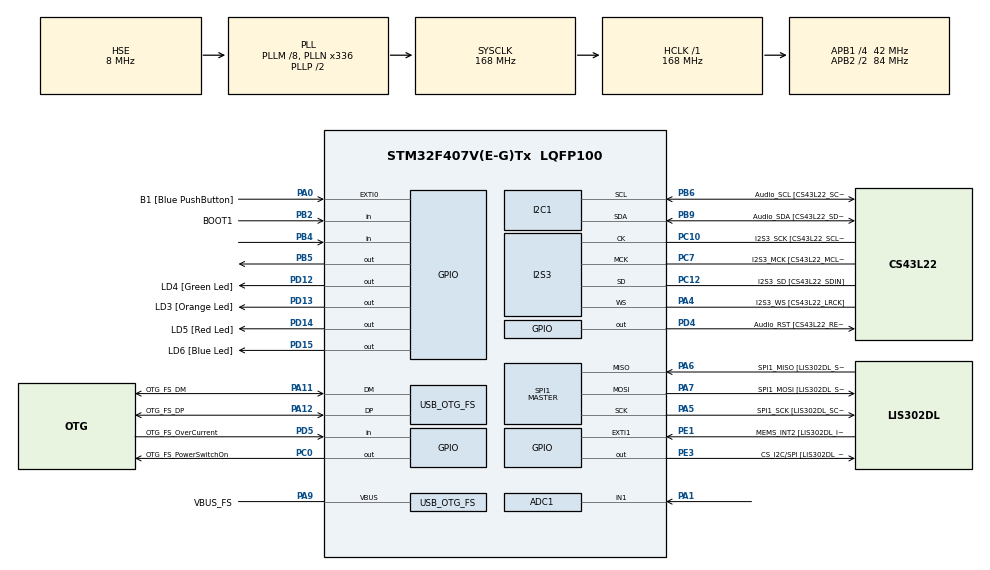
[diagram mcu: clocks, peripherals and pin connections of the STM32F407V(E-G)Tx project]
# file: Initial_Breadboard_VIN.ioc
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ADC1.Channel-0\#ChannelRegularConversion=ADC_CHANNEL_1
ADC1.NbrOfConversionFlag=1
ADC1.Rank-0\#ChannelRegularConversion=1
ADC1.SamplingTime-0\#ChannelRegularConversion=ADC_SAMPLETIME_3CYCLES
ADC1.master=1
I2S3.AudioFreq-Half_Duplex_Master=I2S_AUDIOFREQ_96K
I2S3.ErrorAudioFreq=-2.34 %
I2S3.ErrorAudioFreq-Half_Duplex_Master=0.8 %
I2S3.FullDuplexMode=I2S_FULLDUPLEXMODE_DISABLE
I2S3.Instance=SPI$Index
I2S3.RealAudioFreq=93.75 KHz
I2S3.RealAudioFreq-Half_Duplex_Master=96.774 KHz
I2S3.VirtualMode=I2S_MODE_MASTER
Mcu.Family=STM32F4
Mcu.Name=STM32F407V(E-G)Tx
Mcu.Package=LQFP100
NVIC.OTG_FS_IRQn=true\:0\:0\:false\:false\:true\:true\:true
NVIC.PriorityGroup=NVIC_PRIORITYGROUP_0
PA0-WKUP.GPIO_Label=B1 [Blue PushButton]
PA0-WKUP.GPIO_ModeDefaultEXTI=GPIO_MODE_EVT_RISING
PA0-WKUP.GPIO_PuPd=GPIO_NOPULL
PA0-WKUP.Signal=GPXTI0
PA1.Signal=ADCx_IN1
PA10.GPIO_Label=OTG_FS_ID
PA10.GPIO_Mode=GPIO_MODE_AF_PP
PA10.GPIO_PuPd=GPIO_NOPULL
PA10.GPIO_Speed=GPIO_SPEED_FREQ_LOW
PA10.Signal=USB_OTG_FS_ID
PA11.GPIO_Label=OTG_FS_DM
PA11.GPIO_Mode=GPIO_MODE_AF_PP
PA11.GPIO_PuPd=GPIO_NOPULL
PA11.GPIO_Speed=GPIO_SPEED_FREQ_LOW
PA11.Mode=Device_Only
PA11.Signal=USB_OTG_FS_DM
PA12.GPIO_Label=OTG_FS_DP
PA12.GPIO_Mode=GPIO_MODE_AF_PP
PA12.GPIO_PuPd=GPIO_NOPULL
PA12.GPIO_Speed=GPIO_SPEED_FREQ_LOW
PA12.Mode=Device_Only
PA12.Signal=USB_OTG_FS_DP
PA13.GPIO_Label=SWDIO
PA13.Mode=Serial_Wire
PA13.Signal=SYS_JTMS-SWDIO
PA14.GPIO_Label=SWCLK
PA14.Mode=Serial_Wire
PA14.Signal=SYS_JTCK-SWCLK
PA4.GPIO_Label=I2S3_WS [CS43L22_LRCK]
PA4.GPIO_Mode=GPIO_MODE_AF_PP
PA4.GPIO_PuPd=GPIO_NOPULL
PA4.GPIO_Speed=GPIO_SPEED_FREQ_LOW
PA4.Mode=Half_Duplex_Master
PA4.Signal=I2S3_WS
PA5.GPIO_Label=SPI1_SCK [LIS302DL_SCL/SPC]
PA5.GPIO_Mode=GPIO_MODE_AF_PP
PA5.GPIO_PuPd=GPIO_NOPULL
PA5.GPIO_Speed=GPIO_SPEED_FREQ_LOW
PA5.Mode=Full_Duplex_Master
PA5.Signal=SPI1_SCK
PA6.GPIO_Label=SPI1_MISO [LIS302DL_SDO]
PA6.GPIO_Mode=GPIO_MODE_AF_PP
PA6.GPIO_PuPd=GPIO_NOPULL
PA6.GPIO_Speed=GPIO_SPEED_FREQ_LOW
PA6.Mode=Full_Duplex_Master
PA6.Signal=SPI1_MISO
PA7.GPIO_Label=SPI1_MOSI [LIS302DL_SDA/SDI/SDO]
PA7.GPIO_Mode=GPIO_MODE_AF_PP
PA7.GPIO_PuPd=GPIO_NOPULL
PA7.GPIO_Speed=GPIO_SPEED_FREQ_LOW
PA7.Mode=Full_Duplex_Master
PA7.Signal=SPI1_MOSI
PA9.GPIO_Label=VBUS_FS
PA9.GPIO_Mode=GPIO_MODE_INPUT
PA9.GPIO_PuPd=GPIO_NOPULL
PA9.Mode=Activate_VBUS
PA9.Signal=USB_OTG_FS_VBUS
PB10.GPIO_Label=CLK_IN [MP45DT02_CLK]
PB10.GPIO_Mode=GPIO_MODE_AF_PP
PB10.GPIO_PuPd=GPIO_NOPULL
PB10.GPIO_Speed=GPIO_SPEED_FREQ_LOW
PB10.Signal=I2S2_CK
PB2.GPIO_Label=BOOT1
PB2.GPIO_Mode=GPIO_MODE_INPUT
PB2.GPIO_PuPd=GPIO_NOPULL
PB2.Signal=GPIO_Input
PB3.GPIO_Label=SWO
PB3.Signal=SYS_JTDO-SWO
PB4.Signal=GPIO_Input
PB5.Signal=GPIO_Output
PB6.GPIO_Label=Audio_SCL [CS43L22_SCL]
PB6.GPIO_Mode=GPIO_MODE_AF_OD
PB6.GPIO_Pu=GPIO_PULLUP
PB6.GPIO_PuPd=GPIO_NOPULL
PB6.GPIO_Speed=GPIO_SPEED_FREQ_LOW
PB6.Mode=I2C
PB6.Signal=I2C1_SCL
PB9.GPIO_Label=Audio_SDA [CS43L22_SDA]
PB9.GPIO_Mode=GPIO_MODE_AF_OD
PB9.GPIO_Pu=GPIO_PULLUP
PB9.GPIO_PuPd=GPIO_NOPULL
PB9.GPIO_Speed=GPIO_SPEED_FREQ_LOW
PB9.Mode=I2C
PB9.Signal=I2C1_SDA
PC0.GPIO_Label=OTG_FS_PowerSwitchOn
PC0.GPIO_PuPd=GPIO_NOPULL
PC0.GPIO_Speed=GPIO_SPEED_FREQ_LOW
PC0.PinState=GPIO_PIN_SET
PC0.Signal=GPIO_Output
PC10.GPIO_Label=I2S3_SCK [CS43L22_SCLK]
PC10.GPIO_Mode=GPIO_MODE_AF_PP
PC10.GPIO_PuPd=GPIO_NOPULL
PC10.GPIO_Speed=GPIO_SPEED_FREQ_LOW
PC10.Mode=Half_Duplex_Master
PC10.Signal=I2S3_CK
PC12.GPIO_Label=I2S3_SD [CS43L22_SDIN]
PC12.GPIO_Mode=GPIO_MODE_AF_PP
PC12.GPIO_PuPd=GPIO_NOPULL
PC12.GPIO_Speed=GPIO_SPEED_FREQ_LOW
PC12.Mode=Half_Duplex_Master
PC12.Signal=I2S3_SD
PC14-OSC32_IN.GPIO_Label=PC14-OSC32_IN
PC14-OSC32_IN.Mode=LSE-External-Oscillator
PC14-OSC32_IN.Signal=RCC_OSC32_IN
PC15-OSC32_OUT.GPIO_Label=PC15-OSC32_OUT
PC15-OSC32_OUT.Mode=LSE-External-Oscillator
PC15-OSC32_OUT.Signal=RCC_OSC32_OUT
PC3.GPIO_Label=PDM_OUT [MP45DT02_DOUT]
PC3.GPIO_Mode=GPIO_MODE_AF_PP
PC3.GPIO_PuPd=GPIO_NOPULL
PC3.GPIO_Speed=GPIO_SPEED_FREQ_LOW
PC3.Signal=I2S2_SD
PC7.GPIO_Label=I2S3_MCK [CS43L22_MCLK]
PC7.GPIO_Mode=GPIO_MODE_AF_PP
PC7.GPIO_PuPd=GPIO_NOPULL
PC7.GPIO_Speed=GPIO_SPEED_FREQ_LOW
PC7.Mode=Master_Clock_Activated
PC7.Signal=I2S3_MCK
PD12.GPIO_Label=LD4 [Green Led]
PD12.GPIO_PuPd=GPIO_NOPULL
PD12.GPIO_Speed=GPIO_SPEED_FREQ_LOW
PD12.Signal=GPIO_Output
PD13.GPIO_Label=LD3 [Orange Led]
PD13.GPIO_PuPd=GPIO_NOPULL
PD13.GPIO_Speed=GPIO_SPEED_FREQ_LOW
PD13.Signal=GPIO_Output
PD14.GPIO_Label=LD5 [Red Led]
PD14.GPIO_PuPd=GPIO_NOPULL
PD14.GPIO_Speed=GPIO_SPEED_FREQ_LOW
PD14.Signal=GPIO_Output
PD15.GPIO_Label=LD6 [Blue Led]
PD15.GPIO_PuPd=GPIO_NOPULL
PD15.GPIO_Speed=GPIO_SPEED_FREQ_LOW
PD15.Signal=GPIO_Output
PD4.GPIO_Label=Audio_RST [CS43L22_RESET]
PD4.GPIO_PuPd=GPIO_NOPULL
PD4.GPIO_Speed=GPIO_SPEED_FREQ_LOW
PD4.Signal=GPIO_Output
PD5.GPIO_Label=OTG_FS_OverCurrent
PD5.GPIO_Mode=GPIO_MODE_INPUT
PD5.GPIO_PuPd=GPIO_NOPULL
PD5.Signal=GPIO_Input
PE1.GPIO_Label=MEMS_INT2 [LIS302DL_INT2]
PE1.GPIO_ModeDefaultEXTI=GPIO_MODE_EVT_RISING
PE1.GPIO_PuPd=GPIO_NOPULL
PE1.Signal=GPXTI1
PE3.GPIO_Label=CS_I2C/SPI [LIS302DL_CS_I2C/SPI]
PE3.GPIO_PuPd=GPIO_NOPULL
PE3.GPIO_Speed=GPIO_SPEED_FREQ_LOW
PE3.Signal=GPIO_Output
PH0-OSC_IN.GPIO_Label=PH0-OSC_IN
PH0-OSC_IN.Mode=HSE-External-Oscillator
PH0-OSC_IN.Signal=RCC_OSC_IN
PH1-OSC_OUT.GPIO_Label=PH1-OSC_OUT
PH1-OSC_OUT.Mode=HSE-External-Oscillator
PH1-OSC_OUT.Signal=RCC_OSC_OUT
ProjectManager.HeapSize=0x200
ProjectManager.StackSize=0x400
ProjectManager.TargetToolchain=STM32CubeIDE
RCC.48MHZClocksFreq_Value=48000000
RCC.AHBFreq_Value=168000000
RCC.APB1CLKDivider=RCC_HCLK_DIV4
RCC.APB1Freq_Value=42000000
RCC.APB1TimFreq_Value=84000000
RCC.APB2CLKDivider=RCC_HCLK_DIV2
RCC.APB2Freq_Value=84000000
RCC.APB2TimFreq_Value=168000000
RCC.CortexFreq_Value=168000000
RCC.HCLKFreq_Value=168000000
RCC.HSE_VALUE=8000000
RCC.HSI_VALUE=16000000
RCC.PLLM=8
RCC.PLLN=336
RCC.PLLQ=7
RCC.SYSCLKFreq_VALUE=168000000
RCC.SYSCLKSource=RCC_SYSCLKSOURCE_PLLCLK
RCC.VCOOutputFreq_Value=336000000
SH.ADCx_IN1.0=ADC1_IN1,IN1
SH.ADCx_IN1.1=ADC2_IN1
SPI1.BaudRatePrescaler-Full_Duplex_Master=SPI_BAUDRATEPRESCALER_2
SPI1.CalculateBaudRate-Full_Duplex_Master=42.0 MBits/s
SPI1.Direction=SPI_DIRECTION_2LINES
SPI1.Mode=SPI_MODE_MASTER
SPI1.Mode-Full_Duplex_Master=SPI_MODE_MASTER
SPI1.VirtualType=VM_MASTER
USB_DEVICE.CLASS_NAME_FS=CDC
USB_DEVICE.VirtualMode-CDC_FS=Cdc
USB_DEVICE.VirtualModeFS=Cdc_FS
USB_OTG_FS.VirtualMode=Device_Only
VP_USB_DEVICE_VS_USB_DEVICE_CDC_FS.Mode=CDC_FS
board=STM32F407G-DISC1

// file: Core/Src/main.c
/* USER CODE BEGIN Header */
/**
  ******************************************************************************
  * @file           : main.c
  * @brief          : Main program body
  ******************************************************************************
  * @attention
  *
  * <h2><center>&copy; Copyright (c) 2021 STMicroelectronics.
  * All rights reserved.</center></h2>
  *
  * This software component is licensed by ST under Ultimate Liberty license
  * SLA0044, the "License"; You may not use this file except in compliance with
  * the License. You may obtain a copy of the License at:
  *                             www.st.com/SLA0044
  *
  ******************************************************************************
  */
/* USER CODE END Header */
#include "main.h"
#include "usb_device.h"

ADC_HandleTypeDef hadc1;

I2C_HandleTypeDef hi2c1;

I2S_HandleTypeDef hi2s3;

SPI_HandleTypeDef hspi1;

/* USER CODE BEGIN PV */

#define BUFSIZE 256
char SendBuffer[BUFSIZE];
int Counter;
int KeyState=0;
int AnalogValue=0;

/* USER CODE END PV */

void SystemClock_Config(void);
static void MX_GPIO_Init(void);
static void MX_I2C1_Init(void);
static void MX_I2S3_Init(void);
static void MX_SPI1_Init(void);
static void MX_ADC1_Init(void);

int main(void)
{

  /* MCU Configuration--------------------------------------------------------*/

  /* Reset of all peripherals, Initializes the Flash interface and the Systick. */
  HAL_Init();

  /* Configure the system clock */
  SystemClock_Config();

  /* Initialize all configured peripherals */
  MX_GPIO_Init();
  MX_I2C1_Init();
  MX_I2S3_Init();
  MX_SPI1_Init();
  MX_USB_DEVICE_Init();
  MX_ADC1_Init();

  /* Infinite loop */
  /* USER CODE BEGIN WHILE */
  while (1)
  {

	    HAL_ADC_Start(&hadc1);
	    HAL_ADC_PollForConversion(&hadc1, HAL_MAX_DELAY);
	    AnalogValue = HAL_ADC_GetValue(&hadc1);

	    HAL_GPIO_TogglePin(GPIOD, GPIO_PIN_12);
	    HAL_GPIO_TogglePin(GPIOD, GPIO_PIN_13);
	    HAL_GPIO_TogglePin(GPIOD, GPIO_PIN_14);
	    HAL_GPIO_TogglePin(GPIOD, GPIO_PIN_15);

	    HAL_GPIO_TogglePin(GPIOB, GPIO_PIN_5);   //External LED on PB5

	    KeyState = HAL_GPIO_ReadPin(GPIOB, GPIO_PIN_4); //External Key on PB4

	    snprintf (SendBuffer,BUFSIZE,"Hello World [%d]: Key:%d Analog:%d\r\n",Counter++, 1-KeyState, AnalogValue);
	    CDC_Transmit_FS(SendBuffer,strlen(SendBuffer));

    /* USER CODE END WHILE */

    /* USER CODE BEGIN 3 */
        HAL_Delay(1000);
  }
  /* USER CODE END 3 */
}

void SystemClock_Config(void)
{
  RCC_OscInitTypeDef RCC_OscInitStruct = {0};
  RCC_ClkInitTypeDef RCC_ClkInitStruct = {0};

  /** Configure the main internal regulator output voltage
  */
  __HAL_RCC_PWR_CLK_ENABLE();
  __HAL_PWR_VOLTAGESCALING_CONFIG(PWR_REGULATOR_VOLTAGE_SCALE1);
  /** Initializes the RCC Oscillators according to the specified parameters
  * in the RCC_OscInitTypeDef structure.
  */
  RCC_OscInitStruct.OscillatorType = RCC_OSCILLATORTYPE_HSE;
  RCC_OscInitStruct.HSEState = RCC_HSE_ON;
  RCC_OscInitStruct.PLL.PLLState = RCC_PLL_ON;
  RCC_OscInitStruct.PLL.PLLSource = RCC_PLLSOURCE_HSE;
  RCC_OscInitStruct.PLL.PLLM = 8;
  RCC_OscInitStruct.PLL.PLLN = 336;
  RCC_OscInitStruct.PLL.PLLP = RCC_PLLP_DIV2;
  RCC_OscInitStruct.PLL.PLLQ = 7;
  if (HAL_RCC_OscConfig(&RCC_OscInitStruct) != HAL_OK)
  {
    Error_Handler();
  }
  /** Initializes the CPU, AHB and APB buses clocks
  */
  RCC_ClkInitStruct.ClockType = RCC_CLOCKTYPE_HCLK|RCC_CLOCKTYPE_SYSCLK
                              |RCC_CLOCKTYPE_PCLK1|RCC_CLOCKTYPE_PCLK2;
  RCC_ClkInitStruct.SYSCLKSource = RCC_SYSCLKSOURCE_PLLCLK;
  RCC_ClkInitStruct.AHBCLKDivider = RCC_SYSCLK_DIV1;
  RCC_ClkInitStruct.APB1CLKDivider = RCC_HCLK_DIV4;
  RCC_ClkInitStruct.APB2CLKDivider = RCC_HCLK_DIV2;

  if (HAL_RCC_ClockConfig(&RCC_ClkInitStruct, FLASH_LATENCY_5) != HAL_OK)
  {
    Error_Handler();
  }
}

static void MX_ADC1_Init(void)
{

  ADC_ChannelConfTypeDef sConfig = {0};

  /** Configure the global features of the ADC (Clock, Resolution, Data Alignment and number of conversion)
  */
  hadc1.Instance = ADC1;
  hadc1.Init.ClockPrescaler = ADC_CLOCK_SYNC_PCLK_DIV4;
  hadc1.Init.Resolution = ADC_RESOLUTION_12B;
  hadc1.Init.ScanConvMode = DISABLE;
  hadc1.Init.ContinuousConvMode = DISABLE;
  hadc1.Init.DiscontinuousConvMode = DISABLE;
  hadc1.Init.ExternalTrigConvEdge = ADC_EXTERNALTRIGCONVEDGE_NONE;
  hadc1.Init.ExternalTrigConv = ADC_SOFTWARE_START;
  hadc1.Init.DataAlign = ADC_DATAALIGN_RIGHT;
  hadc1.Init.NbrOfConversion = 1;
  hadc1.Init.DMAContinuousRequests = DISABLE;
  hadc1.Init.EOCSelection = ADC_EOC_SINGLE_CONV;
  if (HAL_ADC_Init(&hadc1) != HAL_OK)
  {
    Error_Handler();
  }
  /** Configure for the selected ADC regular channel its corresponding rank in the sequencer and its sample time.
  */
  sConfig.Channel = ADC_CHANNEL_1;
  sConfig.Rank = 1;
  sConfig.SamplingTime = ADC_SAMPLETIME_3CYCLES;
  if (HAL_ADC_ConfigChannel(&hadc1, &sConfig) != HAL_OK)
  {
    Error_Handler();
  }

}

static void MX_I2C1_Init(void)
{

  hi2c1.Instance = I2C1;
  hi2c1.Init.ClockSpeed = 100000;
  hi2c1.Init.DutyCycle = I2C_DUTYCYCLE_2;
  hi2c1.Init.OwnAddress1 = 0;
  hi2c1.Init.AddressingMode = I2C_ADDRESSINGMODE_7BIT;
  hi2c1.Init.DualAddressMode = I2C_DUALADDRESS_DISABLE;
  hi2c1.Init.OwnAddress2 = 0;
  hi2c1.Init.GeneralCallMode = I2C_GENERALCALL_DISABLE;
  hi2c1.Init.NoStretchMode = I2C_NOSTRETCH_DISABLE;
  if (HAL_I2C_Init(&hi2c1) != HAL_OK)
  {
    Error_Handler();
  }

}

static void MX_I2S3_Init(void)
{

  hi2s3.Instance = SPI3;
  hi2s3.Init.Mode = I2S_MODE_MASTER_TX;
  hi2s3.Init.Standard = I2S_STANDARD_PHILIPS;
  hi2s3.Init.DataFormat = I2S_DATAFORMAT_16B;
  hi2s3.Init.MCLKOutput = I2S_MCLKOUTPUT_ENABLE;
  hi2s3.Init.AudioFreq = I2S_AUDIOFREQ_96K;
  hi2s3.Init.CPOL = I2S_CPOL_LOW;
  hi2s3.Init.ClockSource = I2S_CLOCK_PLL;
  hi2s3.Init.FullDuplexMode = I2S_FULLDUPLEXMODE_DISABLE;
  if (HAL_I2S_Init(&hi2s3) != HAL_OK)
  {
    Error_Handler();
  }

}

static void MX_SPI1_Init(void)
{

  /* SPI1 parameter configuration*/
  hspi1.Instance = SPI1;
  hspi1.Init.Mode = SPI_MODE_MASTER;
  hspi1.Init.Direction = SPI_DIRECTION_2LINES;
  hspi1.Init.DataSize = SPI_DATASIZE_8BIT;
  hspi1.Init.CLKPolarity = SPI_POLARITY_LOW;
  hspi1.Init.CLKPhase = SPI_PHASE_1EDGE;
  hspi1.Init.NSS = SPI_NSS_SOFT;
  hspi1.Init.BaudRatePrescaler = SPI_BAUDRATEPRESCALER_2;
  hspi1.Init.FirstBit = SPI_FIRSTBIT_MSB;
  hspi1.Init.TIMode = SPI_TIMODE_DISABLE;
  hspi1.Init.CRCCalculation = SPI_CRCCALCULATION_DISABLE;
  hspi1.Init.CRCPolynomial = 10;
  if (HAL_SPI_Init(&hspi1) != HAL_OK)
  {
    Error_Handler();
  }

}

static void MX_GPIO_Init(void)
{
  GPIO_InitTypeDef GPIO_InitStruct = {0};

  /* GPIO Ports Clock Enable */
  __HAL_RCC_GPIOE_CLK_ENABLE();
  __HAL_RCC_GPIOC_CLK_ENABLE();
  __HAL_RCC_GPIOH_CLK_ENABLE();
  __HAL_RCC_GPIOA_CLK_ENABLE();
  __HAL_RCC_GPIOB_CLK_ENABLE();
  __HAL_RCC_GPIOD_CLK_ENABLE();

  /*Configure GPIO pin Output Level */
  HAL_GPIO_WritePin(CS_I2C_SPI_GPIO_Port, CS_I2C_SPI_Pin, GPIO_PIN_RESET);

  /*Configure GPIO pin Output Level */
  HAL_GPIO_WritePin(OTG_FS_PowerSwitchOn_GPIO_Port, OTG_FS_PowerSwitchOn_Pin, GPIO_PIN_SET);

  /*Configure GPIO pin Output Level */
  HAL_GPIO_WritePin(GPIOD, LD4_Pin|LD3_Pin|LD5_Pin|LD6_Pin
                          |Audio_RST_Pin, GPIO_PIN_RESET);

  /*Configure GPIO pin Output Level */
  HAL_GPIO_WritePin(GPIOB, GPIO_PIN_5, GPIO_PIN_RESET);

  /*Configure GPIO pin : CS_I2C_SPI_Pin */
  GPIO_InitStruct.Pin = CS_I2C_SPI_Pin;
  GPIO_InitStruct.Mode = GPIO_MODE_OUTPUT_PP;
  GPIO_InitStruct.Pull = GPIO_NOPULL;
  GPIO_InitStruct.Speed = GPIO_SPEED_FREQ_LOW;
  HAL_GPIO_Init(CS_I2C_SPI_GPIO_Port, &GPIO_InitStruct);

  /*Configure GPIO pin : OTG_FS_PowerSwitchOn_Pin */
  GPIO_InitStruct.Pin = OTG_FS_PowerSwitchOn_Pin;
  GPIO_InitStruct.Mode = GPIO_MODE_OUTPUT_PP;
  GPIO_InitStruct.Pull = GPIO_NOPULL;
  GPIO_InitStruct.Speed = GPIO_SPEED_FREQ_LOW;
  HAL_GPIO_Init(OTG_FS_PowerSwitchOn_GPIO_Port, &GPIO_InitStruct);

  /*Configure GPIO pin : PDM_OUT_Pin */
  GPIO_InitStruct.Pin = PDM_OUT_Pin;
  GPIO_InitStruct.Mode = GPIO_MODE_AF_PP;
  GPIO_InitStruct.Pull = GPIO_NOPULL;
  GPIO_InitStruct.Speed = GPIO_SPEED_FREQ_LOW;
  GPIO_InitStruct.Alternate = GPIO_AF5_SPI2;
  HAL_GPIO_Init(PDM_OUT_GPIO_Port, &GPIO_InitStruct);

  /*Configure GPIO pin : B1_Pin */
  GPIO_InitStruct.Pin = B1_Pin;
  GPIO_InitStruct.Mode = GPIO_MODE_EVT_RISING;
  GPIO_InitStruct.Pull = GPIO_NOPULL;
  HAL_GPIO_Init(B1_GPIO_Port, &GPIO_InitStruct);

  /*Configure GPIO pin : PA1 */
  GPIO_InitStruct.Pin = GPIO_PIN_1;
  GPIO_InitStruct.Mode = GPIO_MODE_ANALOG;
  GPIO_InitStruct.Pull = GPIO_NOPULL;
  HAL_GPIO_Init(GPIOA, &GPIO_InitStruct);

  /*Configure GPIO pins : BOOT1_Pin PB4 */
  GPIO_InitStruct.Pin = BOOT1_Pin|GPIO_PIN_4;
  GPIO_InitStruct.Mode = GPIO_MODE_INPUT;
  GPIO_InitStruct.Pull = GPIO_NOPULL;
  HAL_GPIO_Init(GPIOB, &GPIO_InitStruct);

  /*Configure GPIO pin : CLK_IN_Pin */
  GPIO_InitStruct.Pin = CLK_IN_Pin;
  GPIO_InitStruct.Mode = GPIO_MODE_AF_PP;
  GPIO_InitStruct.Pull = GPIO_NOPULL;
  GPIO_InitStruct.Speed = GPIO_SPEED_FREQ_LOW;
  GPIO_InitStruct.Alternate = GPIO_AF5_SPI2;
  HAL_GPIO_Init(CLK_IN_GPIO_Port, &GPIO_InitStruct);

  /*Configure GPIO pins : LD4_Pin LD3_Pin LD5_Pin LD6_Pin
                           Audio_RST_Pin */
  GPIO_InitStruct.Pin = LD4_Pin|LD3_Pin|LD5_Pin|LD6_Pin
                          |Audio_RST_Pin;
  GPIO_InitStruct.Mode = GPIO_MODE_OUTPUT_PP;
  GPIO_InitStruct.Pull = GPIO_NOPULL;
  GPIO_InitStruct.Speed = GPIO_SPEED_FREQ_LOW;
  HAL_GPIO_Init(GPIOD, &GPIO_InitStruct);

  /*Configure GPIO pin : OTG_FS_OverCurrent_Pin */
  GPIO_InitStruct.Pin = OTG_FS_OverCurrent_Pin;
  GPIO_InitStruct.Mode = GPIO_MODE_INPUT;
  GPIO_InitStruct.Pull = GPIO_NOPULL;
  HAL_GPIO_Init(OTG_FS_OverCurrent_GPIO_Port, &GPIO_InitStruct);

  /*Configure GPIO pin : PB5 */
  GPIO_InitStruct.Pin = GPIO_PIN_5;
  GPIO_InitStruct.Mode = GPIO_MODE_OUTPUT_PP;
  GPIO_InitStruct.Pull = GPIO_NOPULL;
  GPIO_InitStruct.Speed = GPIO_SPEED_FREQ_LOW;
  HAL_GPIO_Init(GPIOB, &GPIO_InitStruct);

  /*Configure GPIO pin : MEMS_INT2_Pin */
  GPIO_InitStruct.Pin = MEMS_INT2_Pin;
  GPIO_InitStruct.Mode = GPIO_MODE_EVT_RISING;
  GPIO_InitStruct.Pull = GPIO_NOPULL;
  HAL_GPIO_Init(MEMS_INT2_GPIO_Port, &GPIO_InitStruct);

}

void Error_Handler(void)
{
  __disable_irq();
  while (1)
  {
  }
}
